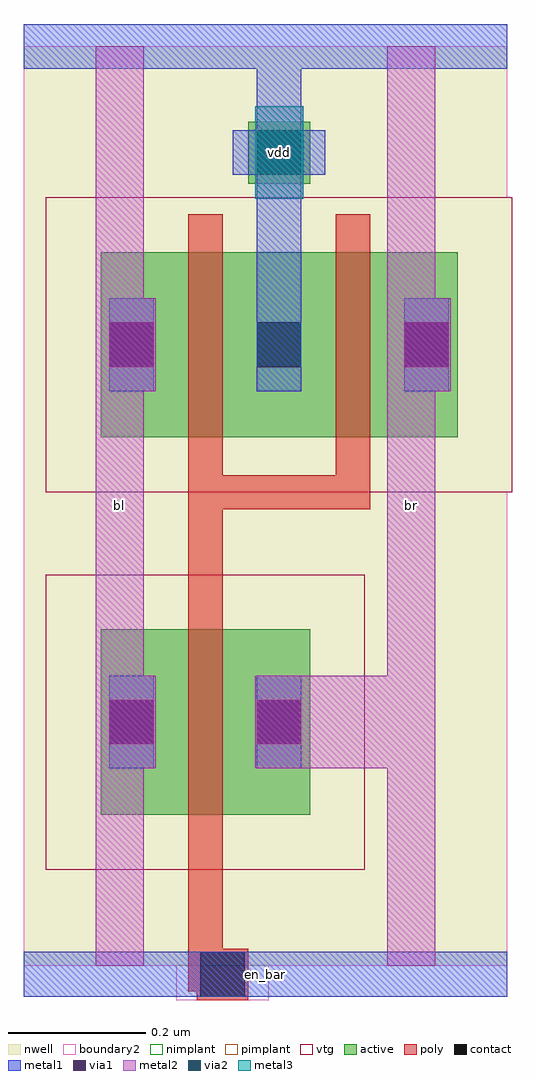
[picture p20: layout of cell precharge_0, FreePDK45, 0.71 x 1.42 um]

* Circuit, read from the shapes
.subckt precharge_0 bl br en_bar vdd
M1 br en_bar bl vdd pfet w=0.27u l=0.05u
M2 vdd en_bar bl vdd pfet w=0.27u l=0.05u
M3 br en_bar vdd vdd pfet w=0.27u l=0.05u
.ends

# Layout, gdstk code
import gdstk
lib = gdstk.Library(unit=1e-6, precision=5e-10)
def R(c, l, rs):  # rectangles x0, y0, x1, y1
    for r in rs: c.add(gdstk.rectangle(r[:2], r[2:], *l))
active = (1, 0)
nwell = (3, 0)
nimplant = (4, 0)
pimplant = (5, 0)
vtg = (6, 0)
poly = (9, 0)
contact = (10, 0)
metal1 = (11, 0)
via1 = (12, 0)
metal2 = (13, 0)
via2 = (14, 0)
metal3 = (15, 0)
boundary2 = (239, 0)

contact_10 = lib.new_cell('contact_10')
R(contact_10, active, [(0,0.0225,0.09,0.1125)])
R(contact_10, nwell, [(-0.055,-0.0325,0.145,0.1675)])
R(contact_10, pimplant, [(0,0.0225,0.09,0.1125)])
R(contact_10, contact, [(0.0125,0.035,0.0775,0.1)])
R(contact_10, metal1, [(0.0125,0,0.0775,0.135)])
R(contact_10, boundary2, [(-0.055,-0.0325,0.145,0.1675)])

pmos_m1_w0_270_sm1_dm1 = lib.new_cell('pmos_m1_w0_270_sm1_dm1')
R(pmos_m1_w0_270_sm1_dm1, active, [(0,0,0.305,0.27)])
R(pmos_m1_w0_270_sm1_dm1, nwell, [(-0.08,-0.08,0.385,0.35)])
R(pmos_m1_w0_270_sm1_dm1, pimplant, [(0,0,0.305,0.27)])
R(pmos_m1_w0_270_sm1_dm1, vtg, [(-0.08,-0.08,0.385,0.35)])
R(pmos_m1_w0_270_sm1_dm1, poly, [(0.1275,-0.055,0.1775,0.325), (0.1275,-0.055,0.1775,0.325)])
R(pmos_m1_w0_270_sm1_dm1, metal1, [(0.0125,0.0675,0.0775,0.2025), (0.2275,0.0675,0.2925,0.2025)])
R(pmos_m1_w0_270_sm1_dm1, boundary2, [(-0.08,-0.08,0.385,0.35)])
pmos_m1_w0_270_sm1_dm1.add(gdstk.Reference(contact_10, (0,0.0675)))
pmos_m1_w0_270_sm1_dm1.add(gdstk.Reference(contact_10, (0.215,0.0675)))
pmos_m1_w0_270_sm1_dm1.add(gdstk.Label('G', (0.1525,0.135), layer=9, texttype=0))
pmos_m1_w0_270_sm1_dm1.add(gdstk.Label('S', (0.045,0.135), layer=11, texttype=0))
pmos_m1_w0_270_sm1_dm1.add(gdstk.Label('D', (0.26,0.135), layer=11, texttype=0))

contact_13 = lib.new_cell('contact_13')
R(contact_13, poly, [(0.03,0,0.105,0.075)])
R(contact_13, contact, [(0.035,0.005,0.1,0.07)])
R(contact_13, metal1, [(0,0.005,0.135,0.07)])
R(contact_13, boundary2, [(0,0,0.135,0.075)])

contact_18 = lib.new_cell('contact_18')
R(contact_18, active, [(0.0225,0,0.1125,0.09)])
R(contact_18, nwell, [(-0.0325,-0.055,0.1675,0.145)])
R(contact_18, nimplant, [(0.0225,0,0.1125,0.09)])
R(contact_18, contact, [(0.035,0.0125,0.1,0.0775)])
R(contact_18, metal1, [(0,0.0125,0.135,0.0775)])
R(contact_18, boundary2, [(-0.0325,-0.055,0.1675,0.145)])

contact_6 = lib.new_cell('contact_6')
R(contact_6, metal1, [(0,0.035,0.135,0.1)])
R(contact_6, via1, [(0.035,0.035,0.1,0.1)])
R(contact_6, metal2, [(0.0325,0,0.1025,0.135)])
R(contact_6, boundary2, [(0,0,0.135,0.135)])

contact_19 = lib.new_cell('contact_19')
R(contact_19, metal1, [(0.0025,0,0.0675,0.135)])
R(contact_19, via1, [(0.0025,0.035,0.0675,0.1)])
R(contact_19, metal2, [(0,0,0.07,0.135)])
R(contact_19, boundary2, [(0,0,0.07,0.135)])

contact_20 = lib.new_cell('contact_20')
R(contact_20, metal2, [(0,0,0.07,0.135)])
R(contact_20, via2, [(0.0025,0.035,0.0675,0.1)])
R(contact_20, metal3, [(0,0,0.07,0.135)])
R(contact_20, boundary2, [(0,0,0.07,0.135)])

precharge_0 = lib.new_cell('precharge_0')
R(precharge_0, nwell, [(0,0,0.705,1.34)])
R(precharge_0, poly, [(0.24,-0.0375,0.29,0.0125), (0.265,-0.0375,0.29,0.0125), (0.24,-0.0125,0.29,0.165), (0.24,0.545,0.29,0.715), (0.24,0.665,0.505,0.715)])
R(precharge_0, metal1, [(0,-0.045,0.705,0.02), (0.34,0.8725,0.405,0.9375), (0.34,0.905,0.405,1.34), (0,1.3075,0.705,1.3725)])
R(precharge_0, metal2, [(0.105,0,0.175,1.34), (0.105,0,0.175,1.34), (0.53,0,0.6,1.34), (0.53,0,0.6,1.34), (0.14,0.2875,0.1575,0.4225), (0.3725,0.2875,0.565,0.4225), (0.14,0.8375,0.1575,0.9725), (0.565,0.8375,0.5875,0.9725)])
R(precharge_0, metal3, [(0.3375,1.1175,0.4075,1.2525)])
R(precharge_0, boundary2, [(0,0,0.705,1.34)])
precharge_0.add(gdstk.Reference(pmos_m1_w0_270_sm1_dm1, (0.1125,0.22)))
precharge_0.add(gdstk.Reference(pmos_m1_w0_270_sm1_dm1, (0.1125,0.77)))
precharge_0.add(gdstk.Reference(pmos_m1_w0_270_sm1_dm1, (0.3275,0.77)))
precharge_0.add(gdstk.Reference(contact_13, (0.2225,-0.05)))
precharge_0.add(gdstk.Reference(contact_18, (0.305,1.14)))
precharge_0.add(gdstk.Reference(contact_6, (0.305,1.1175)))
precharge_0.add(gdstk.Reference(contact_19, (0.3375,1.1175)))
precharge_0.add(gdstk.Reference(contact_20, (0.3375,1.1175)))
precharge_0.add(gdstk.Reference(contact_19, (0.1225,0.2875)))
precharge_0.add(gdstk.Reference(contact_19, (0.3375,0.2875)))
precharge_0.add(gdstk.Reference(contact_19, (0.1225,0.8375)))
precharge_0.add(gdstk.Reference(contact_19, (0.5525,0.8375)))
precharge_0.add(gdstk.Label('en_bar', (0.3525,-0.0125), layer=11, texttype=0))
precharge_0.add(gdstk.Label('vdd', (0.3725,1.185), layer=15, texttype=0))
precharge_0.add(gdstk.Label('bl', (0.14,0.67), layer=13, texttype=0))
precharge_0.add(gdstk.Label('br', (0.565,0.67), layer=13, texttype=0))

lib.write_gds('precharge_0.gds')
